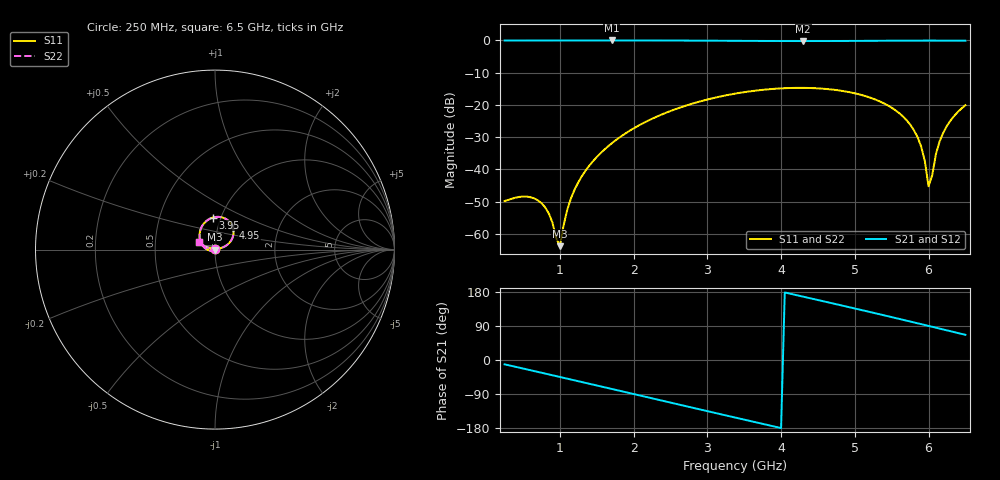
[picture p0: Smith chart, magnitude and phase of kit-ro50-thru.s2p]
! NobuRF kit-ro50-thru: ports 1 "p1", 2 "p2"; 2400 + 2400 steps
# GHz S RI R 50
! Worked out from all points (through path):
!   126 points, 250 MHz to 6.5 GHz, reference 50 ohm
!   highest |S21| = 0.00 dB at 1.7 GHz (marker M1); lowest = -0.2 dB at 4.3 GHz (marker M2)
!   group delay of S21, straight-line fit = 125 ps
!   lowest |S11| = -63.9 dB at 1 GHz (marker M3), VSWR 1.00, Z = 50 - j0.0585 ohm
!   |S11| at or under -10 dB: start of sweep to end of sweep
!   |S22| runs from -63.9 to -14.7 dB; largest |S21 - S12| = 2.1e-07
!   S11 on the Smith chart (normalised r, x): 250 MHz: 1.00, +0.01; 3.95 GHz: 0.92, +0.34; 4.95 GHz: 1.19, +0.29; 6.5 GHz: 0.83, +0.07
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0.25  0.000856 0.00311  0.9777 -0.1981  0.9777 -0.1981  0.000856 0.00311
0.55  0.00192 0.00325  0.9066 -0.417  0.9066 -0.417  0.00192 0.00325
0.75  0.00205 0.00217  0.8314 -0.5526  0.8314 -0.5526  0.00205 0.00217
0.85  0.00166 0.00123  0.786 -0.6158  0.786 -0.6158  0.00166 0.00123
1  0.000264 -0.000585  0.7089 -0.7036  0.7089 -0.7036  0.000264 -0.000585
1.1  -0.00133 -0.00195  0.6519 -0.757  0.6519 -0.757  -0.00133 -0.00195
1.3  -0.0064 -0.00463  0.5261 -0.8497  0.5261 -0.8497  -0.0064 -0.00463
1.7  -0.0244 -0.0062  0.238 -0.9711  0.238 -0.9711  -0.0244 -0.0062
2.35  -0.0658 0.0188  -0.2683 -0.9613  -0.2683 -0.9613  -0.0658 0.0188
3.4  -0.0703 0.1337  -0.8782 -0.4495  -0.8782 -0.4495  -0.0703 0.1337
3.95  -0.0116 0.1786  -0.9794 -0.045  -0.9794 -0.045  -0.0116 0.1786
4.3  0.0371 0.1799  -0.9544 0.218  -0.9544 0.218  0.0371 0.1799
4.45  0.057 0.1725  -0.9229 0.3271  -0.9229 0.3271  0.057 0.1725
4.95  0.1008 0.1184  -0.7328 0.6557  -0.7328 0.6557  0.1008 0.1184
5.5  0.0815 0.0394  -0.3901 0.911  -0.3901 0.911  0.0815 0.0394
5.85  0.0307 0.00825  -0.1205 0.9871  -0.1205 0.9871  0.0307 0.00825
5.95  0.0125 0.00501  -0.0397 0.994  -0.0397 0.994  0.0125 0.00501
6  0.00307 0.0045  0.000932 0.9949  0.000932 0.9949  0.00307 0.0045
6.05  -0.00653 0.00476  0.0416 0.994  0.0416 0.994  -0.00653 0.00476
6.1  -0.0162 0.00581  0.0823 0.9914  0.0823 0.9914  -0.0162 0.00581
6.2  -0.0356 0.0103  0.1631 0.9808  0.1631 0.9808  -0.0356 0.0103
6.5  -0.0893 0.0426  0.3958 0.9078  0.3958 0.9078  -0.0893 0.0426
